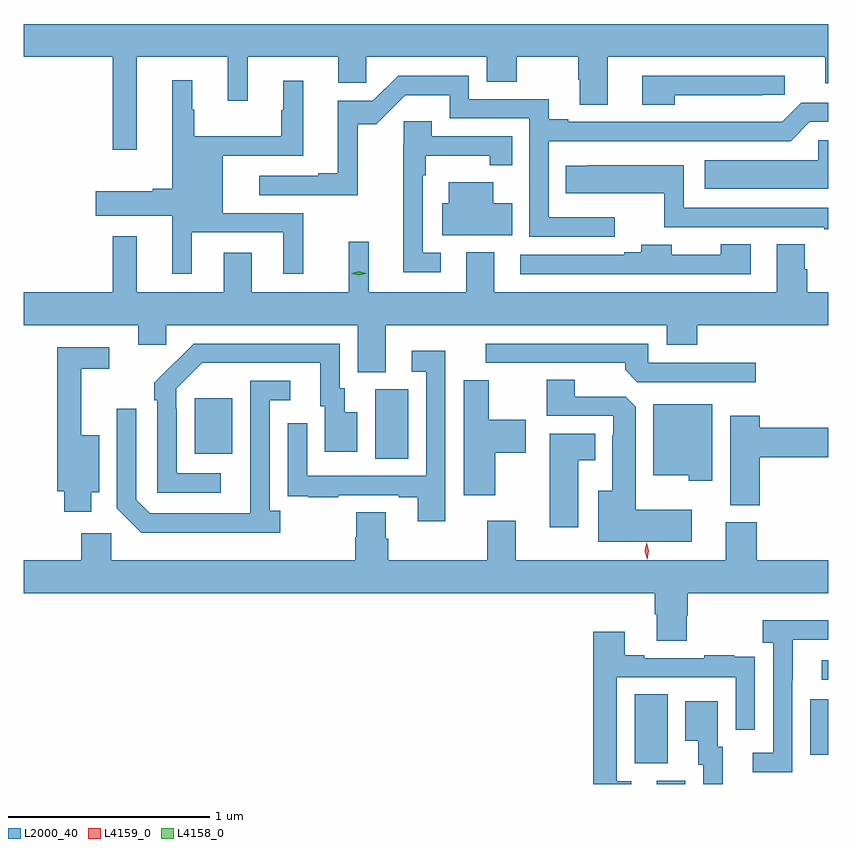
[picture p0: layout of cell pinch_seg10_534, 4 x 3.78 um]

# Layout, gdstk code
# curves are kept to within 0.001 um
import gdstk
lib = gdstk.Library(unit=1e-6, precision=1e-09)
def R(c, l, rs):  # rectangles x0, y0, x1, y1
    for r in rs: c.add(gdstk.rectangle(r[:2], r[2:], *l))
def P(c, l, *ps):  # polygons
    for p in ps: c.add(gdstk.Polygon(p, *l))
L2000_40 = (2000, 40)
L4158_0 = (4158, 0)
L4159_0 = (4159, 0)

pinch_seg10_534 = lib.new_cell('pinch_seg10_534')
R(pinch_seg10_534, L2000_40, [(324.605,1254.079,324.745,1254.096), (324.494,1254.181,324.658,1254.524), (325.367,1254.225,325.457,1254.499), (325.425,1254.597,325.457,1254.693), (323.204,1255.696,323.368,1256.04), (322.307,1255.721,322.495,1255.996)])
P(pinch_seg10_534, L2000_40, [(322.019,1257.692),(322.472,1257.692),(322.472,1257.474),(322.571,1257.474),(322.571,1257.692),(323.021,1257.692),(323.021,1257.564),(323.159,1257.564),(323.159,1257.692),(323.759,1257.692),(323.759,1257.568),(323.907,1257.568),(323.907,1257.692),(324.214,1257.692),(324.214,1257.58),(324.221,1257.58),(324.221,1257.454),(324.361,1257.454),(324.361,1257.692),(325.442,1257.692),(325.442,1257.561),(325.457,1257.561),(325.457,1257.856),(321.457,1257.856),(321.457,1257.692),(321.901,1257.692),(321.901,1257.231),(322.019,1257.231)],
  [(324.692,1257.503),(325.127,1257.503),(325.127,1257.505),(325.24,1257.505),(325.24,1257.6),(324.531,1257.6),(324.531,1257.454),(324.692,1257.454)],
  [(324.394,1256.895),(324.066,1256.895),(324.066,1257.273),(325.269,1257.273),(325.365,1257.369),(325.457,1257.369),(325.457,1257.465),(325.323,1257.465),(325.228,1257.37),(324.163,1257.369),(324.163,1257.382),(324.067,1257.382),(324.067,1257.483),(323.67,1257.483),(323.67,1257.6),(323.319,1257.6),(323.193,1257.474),(323.018,1257.474),(323.018,1257.115),(322.922,1257.115),(322.922,1257.102),(322.629,1257.102),(322.629,1257.006),(323.118,1257.006),(323.118,1257.358),(323.209,1257.358),(323.354,1257.503),(323.574,1257.503),(323.574,1257.387),(323.97,1257.387),(323.97,1256.799),(324.394,1256.799)],
  [(322.294,1256.82),(322.748,1256.82),(322.748,1256.616),(322.848,1256.616),(322.848,1256.916),(322.447,1256.916),(322.447,1257.201),(322.846,1257.201),(322.846,1257.574),(322.748,1257.574),(322.748,1257.428),(322.737,1257.428),(322.737,1257.298),(322.306,1257.298),(322.306,1257.429),(322.295,1257.429),(322.295,1257.577),(322.196,1257.577),(322.196,1257.038),(322.1,1257.038),(322.1,1257.025),(321.816,1257.025),(321.816,1256.903),(322.196,1256.903),(322.196,1256.616),(322.294,1256.616)],
  [(323.53,1256.718),(323.442,1256.718),(323.442,1257.104),(323.455,1257.104),(323.455,1257.2),(323.774,1257.2),(323.774,1257.155),(323.885,1257.155),(323.885,1257.297),(323.485,1257.297),(323.485,1257.373),(323.347,1257.373),(323.347,1257.26),(323.344,1257.26),(323.344,1256.622),(323.53,1256.622)],
  [(325.457,1257.279),(325.407,1257.279),(325.407,1257.178),(324.843,1257.178),(324.843,1257.038),(325.457,1257.038)],
  [(325.457,1256.943),(324.738,1256.943),(324.738,1257.154),(324.259,1257.154),(324.259,1257.152),(324.151,1257.152),(324.151,1257.016),(324.259,1257.016),(324.259,1257.014),(324.64,1257.014),(324.64,1256.847),(325.436,1256.847),(325.436,1256.835),(325.457,1256.835)],
  [(323.885,1256.965),(323.791,1256.965),(323.791,1257.07),(323.57,1257.07),(323.57,1256.965),(323.537,1256.965),(323.537,1256.807),(323.885,1256.807)],
  [(323.257,1256.36),(324.653,1256.36),(324.653,1256.261),(324.806,1256.261),(324.806,1256.36),(325.457,1256.36),(325.457,1256.524),(325.352,1256.524),(325.352,1256.637),(325.339,1256.637),(325.339,1256.762),(325.199,1256.762),(325.199,1256.524),(323.797,1256.524),(323.797,1256.722),(323.657,1256.722),(323.657,1256.524),(323.173,1256.524),(323.173,1256.773),(323.074,1256.773),(323.074,1256.524),(322.591,1256.524),(322.591,1256.719),(322.451,1256.719),(322.451,1256.524),(322.019,1256.524),(322.019,1256.8),(321.901,1256.8),(321.901,1256.524),(321.457,1256.524),(321.457,1256.36),(322.028,1256.36),(322.028,1256.262),(322.167,1256.262),(322.167,1256.36),(323.117,1256.36),(323.117,1256.125),(323.257,1256.125)],
  [(325.072,1256.762),(324.923,1256.762),(324.923,1256.71),(324.679,1256.71),(324.679,1256.758),(324.527,1256.758),(324.527,1256.722),(324.443,1256.722),(324.443,1256.709),(323.925,1256.709),(323.925,1256.613),(325.072,1256.613)],
  [(325.096,1256.172),(324.561,1256.172),(324.561,1256.268),(323.754,1256.268),(323.754,1256.172),(324.446,1256.172),(324.446,1256.138),(324.507,1256.076),(325.096,1256.076)],
  [(322.438,1255.623),(322.218,1255.623),(322.218,1255.943),(322.215,1255.943),(322.215,1256.043),(322.344,1256.172),(322.931,1256.172),(322.931,1255.956),(322.955,1255.956),(322.955,1255.731),(323.116,1255.731),(323.116,1255.927),(323.053,1255.927),(323.053,1256.046),(323.028,1256.046),(323.028,1256.268),(322.304,1256.268),(322.107,1256.073),(322.107,1255.985),(322.122,1255.985),(322.122,1255.527),(322.438,1255.527)],
  [(321.793,1255.529),(321.832,1255.529),(321.832,1255.813),(321.743,1255.813),(321.743,1256.142),(321.883,1256.142),(321.883,1256.25),(321.625,1256.25),(321.625,1255.533),(321.659,1255.533),(321.659,1255.433),(321.793,1255.433)],
  [(323.553,1256.233),(323.385,1256.233),(323.385,1256.127),(323.457,1256.127),(323.457,1255.611),(322.866,1255.611),(322.866,1255.873),(322.77,1255.873),(322.77,1255.618),(322.771,1255.618),(322.771,1255.509),(322.873,1255.509),(322.873,1255.503),(323.021,1255.503),(323.021,1255.515),(323.321,1255.515),(323.321,1255.503),(323.417,1255.503),(323.417,1255.386),(323.553,1255.386)],
  [(324.778,1255.441),(324.499,1255.441),(324.499,1255.955),(324.45,1256.004),(324.196,1256.004),(324.196,1256.087),(324.056,1256.087),(324.056,1255.908),(324.387,1255.908),(324.387,1255.811),(324.383,1255.811),(324.383,1255.537),(324.314,1255.537),(324.314,1255.283),(324.778,1255.283)],
  [(323.8,1255.726),(323.953,1255.726),(323.953,1255.888),(323.77,1255.888),(323.77,1256.086),(323.645,1256.086),(323.645,1255.515),(323.8,1255.515)],
  [(322.732,1255.438),(322.68,1255.438),(322.68,1255.986),(322.783,1255.986),(322.783,1256.082),(322.584,1256.082),(322.583,1255.425),(322.083,1255.425),(322.017,1255.491),(322.017,1255.945),(321.921,1255.945),(321.921,1255.449),(322.042,1255.328),(322.732,1255.328)],
  [(324.88,1255.966),(324.587,1255.966),(324.587,1255.613),(324.762,1255.613),(324.762,1255.586),(324.88,1255.586)],
  [(325.115,1255.703),(325.457,1255.703),(325.457,1255.85),(325.115,1255.85),(325.115,1255.909),(324.968,1255.909),(324.968,1255.465),(325.115,1255.465)],
  [(324.214,1255.688),(324.298,1255.688),(324.298,1255.819),(324.071,1255.819),(324.071,1255.356),(324.214,1255.356)],
  [(324.753,1254.915),(324.758,1254.915),(324.758,1255.028),(325.457,1255.028),(325.457,1255.192),(325.1,1255.192),(325.1,1255.38),(324.947,1255.38),(324.947,1255.192),(323.902,1255.192),(323.902,1255.387),(323.762,1255.387),(323.762,1255.192),(323.27,1255.192),(323.27,1255.298),(323.257,1255.298),(323.257,1255.43),(323.11,1255.43),(323.11,1255.305),(323.105,1255.305),(323.105,1255.192),(321.894,1255.192),(321.894,1255.324),(321.743,1255.324),(321.743,1255.192),(321.457,1255.192),(321.457,1255.028),(324.593,1255.028),(324.593,1254.922),(324.605,1254.922),(324.605,1254.79),(324.753,1254.79)],
  [(325.278,1254.595),(325.279,1254.595),(325.279,1254.795),(325.457,1254.795),(325.457,1254.892),(325.131,1254.892),(325.131,1254.782),(325.182,1254.782),(325.182,1254.234),(325.08,1254.234),(325.08,1254.138),(325.278,1254.138)],
  [(324.478,1254.093),(324.405,1254.093),(324.405,1254.609),(324.996,1254.609),(324.996,1254.348),(325.092,1254.348),(325.092,1254.602),(325.091,1254.602),(325.091,1254.711),(324.989,1254.711),(324.989,1254.718),(324.841,1254.718),(324.841,1254.705),(324.541,1254.705),(324.541,1254.718),(324.445,1254.718),(324.445,1254.835),(324.289,1254.835),(324.289,1254.079),(324.478,1254.079)],
  [(324.931,1254.264),(324.907,1254.264),(324.907,1254.49),(324.746,1254.49),(324.746,1254.293),(324.809,1254.293),(324.809,1254.174),(324.834,1254.174),(324.834,1254.079),(324.931,1254.079)])
P(pinch_seg10_534, L4158_0, [(323.123,1256.607),(323.088,1256.616),(323.088,1256.617),(323.088,1256.617),(323.123,1256.627),(323.159,1256.617),(323.159,1256.617),(323.159,1256.616)])
P(pinch_seg10_534, L4159_0, [(324.556,1255.196),(324.556,1255.196),(324.545,1255.237),(324.554,1255.278),(324.555,1255.278),(324.555,1255.278),(324.565,1255.237),(324.556,1255.196)])

lib.write_gds('pinch_seg10_534.gds')
